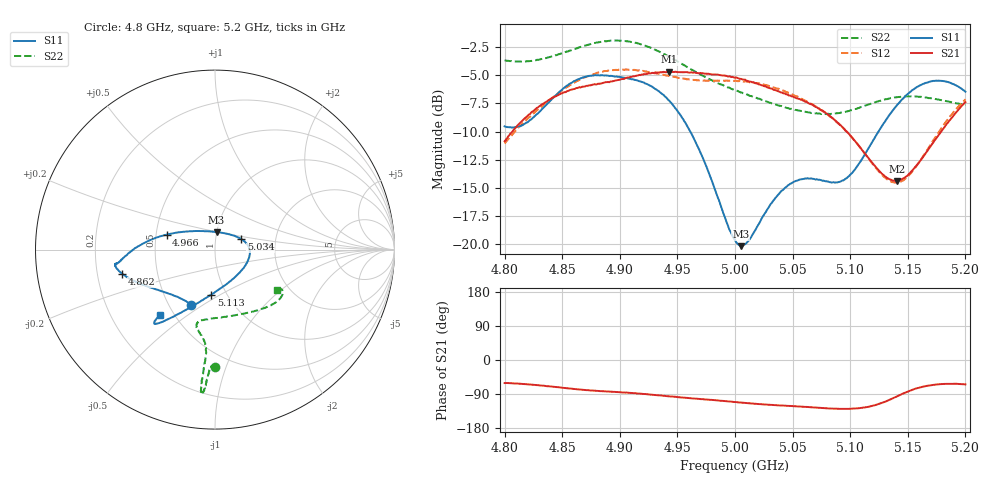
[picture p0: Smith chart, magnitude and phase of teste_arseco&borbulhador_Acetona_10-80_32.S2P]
! Network Analyzer HP8722D
! Hewlett-Packard
! Data name: Linha & Wilkinson
! Saver's name: Rodrigo Anjos
! Comments: Teste da utilização de aquisição
! continua pelo VNA HP8722D
! Time and date: 17/4/2025 14:37
!  Frequency  S11  S21  S12  S22
# HZ  S  MA R 50
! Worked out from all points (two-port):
!   401 points, 4.8 GHz to 5.2 GHz, reference 50 ohm
!   highest |S21| = -4.68 dB at 4.943 GHz (marker M1); lowest = -14.4 dB at 5.141 GHz (marker M2)
!   |S21| within 3 dB of the highest: 4.831 GHz to 5.068 GHz (236.8 MHz wide, 4.78 % of centre); 5.197248 GHz to end of sweep
!   lowest |S11| = -20.2 dB at 5.005 GHz (marker M3), VSWR 1.22, Z = 49.9 + j9.8 ohm
!   |S11| at or under -10 dB: 4.961 GHz to 5.125 GHz (163.4 MHz wide, 3.24 % of centre)
!   |S22| runs from -8.4 to -1.9 dB; largest |S21 - S12| = 0.88
!   S11 on the Smith chart (normalised r, x): 4.8 GHz: 0.65, -0.45; 4.862 GHz: 0.31, -0.12; 4.966 GHz: 0.57, +0.10; 5.034 GHz: 1.33, +0.16; 5.113 GHz: 0.85, -0.45; 5.2 GHz: 0.42, -0.39
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4.8e9  0.3335 -113.1  0.2861 -60.9  0.2799 -174.8  0.655 -89.9
4.819e9  0.3465 -133.0  0.3677 -64.0  0.3566 -173.4  0.6499 -91.5
4.84e9  0.4351 -152.5  0.4415 -69.8  0.4417 -173.8  0.6807 -92.7
4.862e9  0.5354 -165.4  0.4938 -76.9  0.5273 -176.6  0.7411 -93.7
4.867e9  0.5481 -167.4  0.5 -78.4  0.5428 -177.6  0.7554 -93.9
4.899e9  0.554 -172.1  0.5364 -85.0  0.596 175.6  0.8031 -95.3
4.934e9  0.4774 -178.1  0.5795 -93.4  0.5714 172.0  0.7175 -95.7
4.943e9  0.4332 177.9  0.5836 -95.9  0.5593 171.9  0.68 -95.4
4.966e9  0.2826 163.0  0.5773 -101.9  0.5367 173.8  0.5829 -94.9
5e9  0.1038 102.8  0.5485 -110.9  0.5331 176.3  0.4824 -99.1
5.005e9  0.09763 85.1  0.5428 -112.4  0.5291 176.1  0.472 -100.3
5.012e9  0.1035 62.6  0.5281 -114.1  0.5258 176.2  0.4582 -101.8
5.034e9  0.1576 21.8  0.4844 -119.1  0.4962 174.9  0.4191 -103.4
5.05e9  0.1875 5.4  0.453 -121.7  0.4614 174.2  0.3989 -99.7
5.067e9  0.1951 -12.6  0.4173 -124.7  0.4193 173.9  0.3831 -90.9
5.093e9  0.1912 -56.8  0.3318 -128.9  0.3306 174.1  0.3845 -70.9
5.113e9  0.2517 -94.6  0.2514 -124.9  0.2512 179.6  0.4128 -55.1
5.134e9  0.3745 -116.0  0.194 -105.2  0.1908 -158.1  0.444 -43.0
5.141e9  0.417 -120.0  0.1907 -95.4  0.1878 -147.2  0.45 -39.9
5.153e9  0.4789 -124.9  0.2096 -79.7  0.2071 -128.8  0.4535 -35.6
5.171e9  0.5298 -128.7  0.2778 -66.1  0.2823 -112.0  0.4437 -31.6
5.2e9  0.4755 -130.3  0.4276 -64.3  0.44 -106.3  0.4152 -33.2
